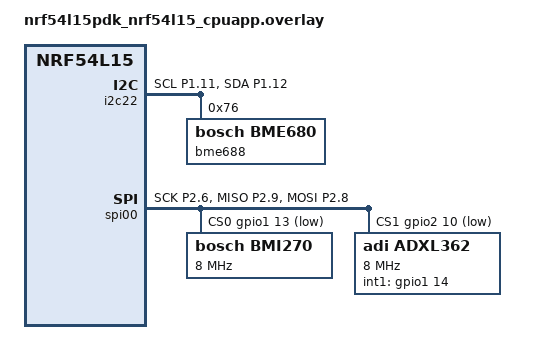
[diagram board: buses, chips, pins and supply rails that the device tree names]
/*
 * Copyright (C) 2024 Nordic Semiconductor ASA
 * SPDX-License-Identifier: Apache-2.0
 */

/ {
	aliases {
		accel0 = &adxl362;
		/delete-property/ led2;
		/delete-property/ led3;
		/delete-property/ sw3;
	};
};

/delete-node/ &led2;	// P1.13 is bmi270 chip select signal
/delete-node/ &led3;	// P1.14 is adxl362 interrupt signal
/delete-node/ &button3; // P2.10 is adxl362 chip select signal

&pinctrl {
	i2c22_default: i2c22_default {
		group1  {
			psels = <NRF_PSEL(TWIM_SCL, 1, 11)>,
				<NRF_PSEL(TWIM_SDA, 1, 12)>;
		};
	};

	i2c22_sleep: i2c22_sleep {
		group1  {
			psels = <NRF_PSEL(TWIM_SCL, 1, 11)>,
				<NRF_PSEL(TWIM_SDA, 1, 12)>;
			low-power-enable;
		};
	};

	spi00_default: spi00_default {
		group1 {
			psels = <NRF_PSEL(SPIM_SCK, 2, 6)>,
				<NRF_PSEL(SPIM_MISO, 2, 9)>,
				<NRF_PSEL(SPIM_MOSI, 2, 8)>;
		};
	};

	spi00_sleep: spi00_sleep {
		group1 {
			psels = <NRF_PSEL(SPIM_SCK, 2, 6)>,
				<NRF_PSEL(SPIM_MISO, 2, 9)>,
				<NRF_PSEL(SPIM_MOSI, 2, 8)>;
			low-power-enable;
		};
	};
};

&i2c22 {
	status = "okay";
	zephyr,concat-buf-size = <512>;
	pinctrl-0 = <&i2c22_default>;
	pinctrl-1 = <&i2c22_sleep>;
	pinctrl-names = "default", "sleep";

	bme688: bme688@76 {
		compatible = "bosch,bme680";
		status = "okay";
		reg = <0x76>;
	};
};

&spi00 {
	status = "okay";
	pinctrl-0 = <&spi00_default>;
	pinctrl-1 = <&spi00_sleep>;
	pinctrl-names = "default", "sleep";
	cs-gpios = <&gpio1 13 GPIO_ACTIVE_LOW>,
		   <&gpio2 10 GPIO_ACTIVE_LOW>;


	bmi270: bmi270@0 {
		compatible = "bosch,bmi270";
		status = "okay";
		reg = <0>;
		spi-max-frequency = <DT_FREQ_M(8)>;
	};

	adxl362: adxl362@1 {
		compatible = "adi,adxl362";
		status = "okay";
		reg = <1>;
		int1-gpios = <&gpio1 14 (GPIO_ACTIVE_HIGH)>;
		spi-max-frequency = <DT_FREQ_M(8)>;
	};
};
